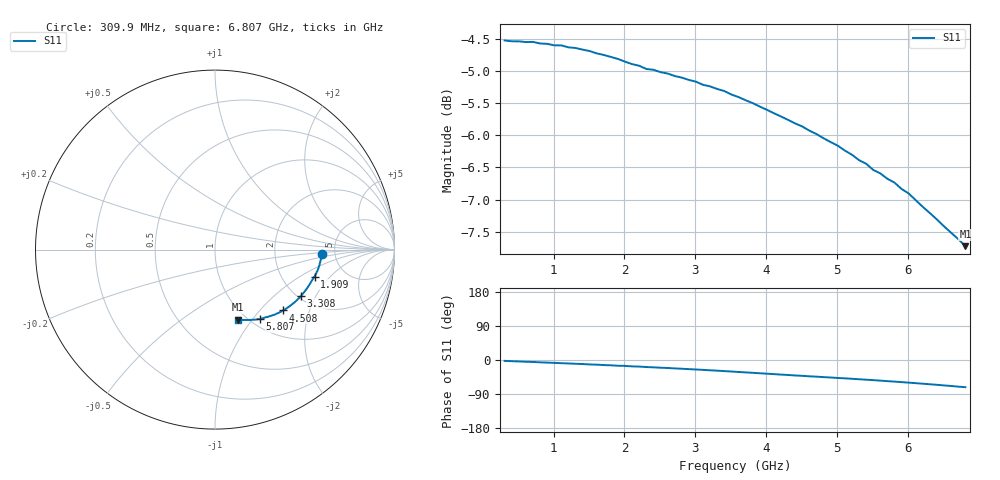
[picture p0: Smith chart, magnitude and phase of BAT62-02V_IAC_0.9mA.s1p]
! Infineon Technologies  Discrete & RF Semiconductors
! BAT62-02V
! IAC = 0.9 mA
! One-Port S-Parameters
# Hz  S  MA  R  50
!f  S11
!Hz  Mag  Ang
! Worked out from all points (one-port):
!   66 points, 309.9 MHz to 6.807 GHz, reference 50 ohm
!   lowest |S11| = -7.7 dB at 6.807 GHz (marker M1), VSWR 2.39, Z = 45.6 - j42.8 ohm
!   |S11| at or under -10 dB: nowhere
!   S11 on the Smith chart (normalised r, x): 309.9 MHz: 3.90, -0.29; 1.909 GHz: 3.03, -1.36; 3.308 GHz: 2.09, -1.53; 4.508 GHz: 1.48, -1.36; 5.807 GHz: 1.11, -1.09; 6.807 GHz: 0.91, -0.86
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3.0985e8  0.594 -2.3
6.097e8  0.5923 -4.6
7.0965e8  0.5925 -5.2
1.2094e9  0.5868 -9.1
1.30935e9  0.5861 -10.0
1.4093e9  0.5844 -10.6
1.50925e9  0.5828 -11.7
1.6092e9  0.5805 -12.3
1.70915e9  0.5788 -13.3
1.8091e9  0.5767 -14.0
1.90905e9  0.5746 -15.1
2.009e9  0.5718 -15.6
2.10895e9  0.5694 -16.8
2.2089e9  0.5677 -17.4
2.30885e9  0.5644 -18.6
2.4088e9  0.5636 -19.3
2.8086e9  0.5558 -23.1
3.30835e9  0.5445 -28.1
3.6082e9  0.5367 -31.6
4.008e9  0.5246 -36.1
4.4078e9  0.5119 -40.8
4.50775e9  0.5091 -41.8
5.0075e9  0.4919 -47.4
5.2074e9  0.484 -49.6
5.8071e9  0.4604 -57.0
6.007e9  0.4516 -59.7
6.50675e9  0.4257 -67.1
6.8066e9  0.4109 -71.8
